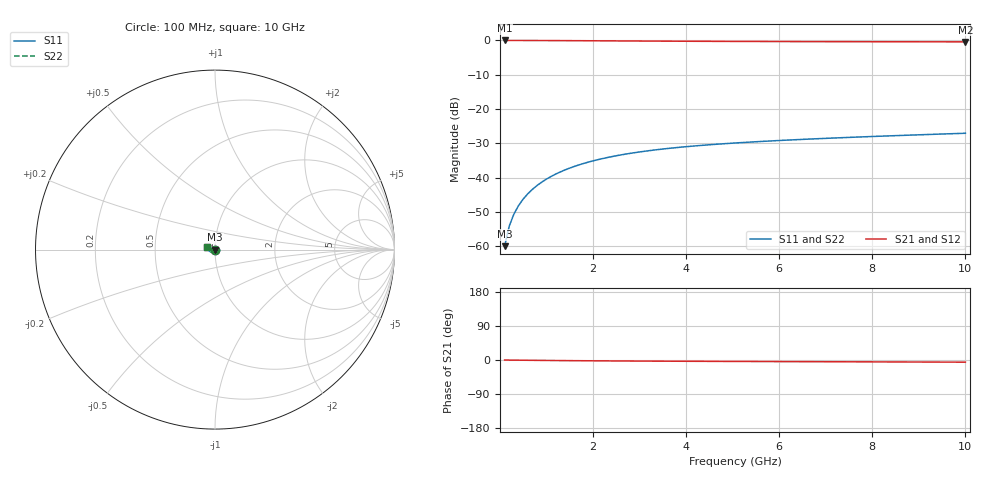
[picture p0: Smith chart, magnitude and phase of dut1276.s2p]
! Touchstone file exported from HFSS 2024.1.0
!  File:  C:/UserFiles/LocalFiles/RDL_TSV_Batchsim/temp_TSV1_1276_1780254893.aedt
!  Generated:  03:21:22 AM Jun  1, 2026
!  Design:  TSV1
!  Project:  temp_TSV1_1276_1780254893
!  Setup:  Setup1
!  Solution:  Sweep
! Variables:
!  dtsv = 7.88um
!  hbump = 3um
!  htsv = 88.03um
!  lrdl = 252.1521522um
!  p = 40
!  p1 = 51.52um
!  t = 500um
!  trdl = 3um
!  wrdl = 24.89489489um
# GHz S MA R 50.000000
! Terminal data exported
! Port[1] = TSV22_T1
! Port[2] = TSV22_T2
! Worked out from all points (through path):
!   100 points, 100 MHz to 10 GHz, reference 50 ohm
!   highest |S21| = 0.00 dB at 100 MHz (marker M1); lowest = -0.4 dB at 10 GHz (marker M2)
!   lowest |S11| = -60.0 dB at 100 MHz (marker M3), VSWR 1.00, Z = 50 - j0.0981 ohm
!   |S11| at or under -10 dB: start of sweep to end of sweep
!   |S22| runs from -60.0 to -27.1 dB; largest |S21 - S12| = 5.1e-15
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0.1  0.001004 -77.7  0.9997 -0.1  0.9997 -0.1  0.001004 -77.7
! Gamma 0 0 0 0
! Port Impedance 50 0 50 0
0.2  0.001973 -86.6  0.9996 -0.2  0.9996 -0.2  0.001973 -86.6
0.3  0.002949 -91.0  0.9994 -0.4  0.9994 -0.4  0.002949 -91.0
0.4  0.00392 -94.2  0.9992 -0.5  0.9992 -0.5  0.00392 -94.2
0.5  0.004885 -96.9  0.9989 -0.6  0.9989 -0.6  0.004885 -96.9
0.6  0.00584 -99.3  0.9985 -0.7  0.9985 -0.7  0.00584 -99.3
0.7  0.006785 -101.6  0.9981 -0.8  0.9981 -0.8  0.006785 -101.6
0.8  0.007718 -103.8  0.9976 -1.0  0.9976 -1.0  0.007718 -103.8
0.9  0.008637 -105.9  0.997 -1.1  0.997 -1.1  0.008637 -105.9
1.1  0.01043 -110.0  0.9958 -1.3  0.9958 -1.3  0.01043 -110.0
1.4  0.01299 -115.7  0.9938 -1.6  0.9938 -1.6  0.01299 -115.7
1.6  0.0146 -119.4  0.9922 -1.8  0.9922 -1.8  0.0146 -119.4
1.8  0.01613 -122.9  0.9906 -2.0  0.9906 -2.0  0.01613 -122.9
2.1  0.01828 -128.0  0.9881 -2.2  0.9881 -2.2  0.01828 -128.0
2.5  0.02087 -134.3  0.9847 -2.5  0.9847 -2.5  0.02087 -134.3
2.9  0.02317 -140.1  0.9815 -2.8  0.9815 -2.8  0.02317 -140.1
3.4  0.02569 -146.8  0.9777 -3.1  0.9777 -3.1  0.02569 -146.8
4.2  0.02906 -156.4  0.9724 -3.4  0.9724 -3.4  0.02906 -156.4
5.1  0.03217 -165.6  0.9676 -3.8  0.9676 -3.8  0.03217 -165.6
6.7  0.03665 -179.1  0.9614 -4.5  0.9614 -4.5  0.03665 -179.1
8.4  0.04075 169.4  0.9571 -5.1  0.9571 -5.1  0.04075 169.4
10  0.0444 160.5  0.9542 -5.7  0.9542 -5.7  0.0444 160.5
